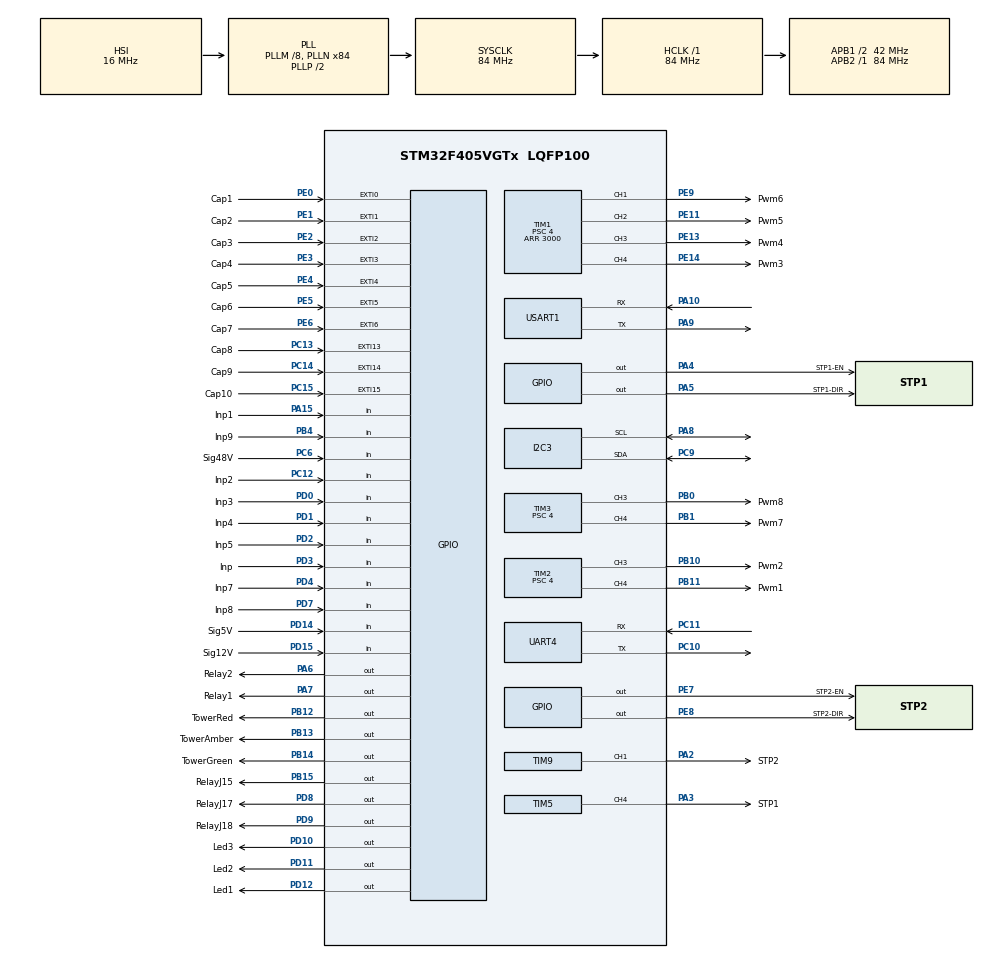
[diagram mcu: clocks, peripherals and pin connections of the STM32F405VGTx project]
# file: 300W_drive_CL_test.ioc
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Mcu.Family=STM32F4
Mcu.Name=STM32F405VGTx
Mcu.Package=LQFP100
NVIC.EXTI0_IRQn=true\:0\:0\:false\:false\:true\:true\:true\:true
NVIC.EXTI15_10_IRQn=true\:0\:0\:false\:false\:true\:true\:true\:true
NVIC.EXTI1_IRQn=true\:0\:0\:false\:false\:true\:true\:true\:true
NVIC.EXTI2_IRQn=true\:0\:0\:false\:false\:true\:true\:true\:true
NVIC.EXTI3_IRQn=true\:0\:0\:false\:false\:true\:true\:true\:true
NVIC.EXTI4_IRQn=true\:0\:0\:false\:false\:true\:true\:true\:true
NVIC.EXTI9_5_IRQn=true\:0\:0\:false\:false\:true\:true\:true\:true
NVIC.PriorityGroup=NVIC_PRIORITYGROUP_4
NVIC.TIM1_BRK_TIM9_IRQn=true\:0\:0\:false\:false\:true\:true\:true\:true
NVIC.TIM1_UP_TIM10_IRQn=true\:0\:0\:false\:false\:true\:true\:true\:true
NVIC.TIM5_IRQn=true\:0\:0\:false\:false\:true\:true\:true\:true
NVIC.TIM6_DAC_IRQn=true\:0\:0\:false\:false\:true\:true\:true\:true
NVIC.TIM7_IRQn=true\:0\:0\:false\:false\:true\:true\:true\:true
NVIC.UART4_IRQn=true\:0\:0\:false\:false\:true\:true\:true\:true
NVIC.USART1_IRQn=true\:0\:0\:false\:false\:true\:true\:true\:true
PA10.Mode=Asynchronous
PA10.Signal=USART1_RX
PA15.GPIO_Label=Inp1
PA15.Signal=GPIO_Input
PA2.GPIO_Label=STP2
PA2.Signal=S_TIM9_CH1
PA3.GPIO_Label=STP1
PA3.Signal=S_TIM5_CH4
PA4.GPIO_Label=STP1-EN
PA4.Signal=GPIO_Output
PA5.GPIO_Label=STP1-DIR
PA5.Signal=GPIO_Output
PA6.GPIO_Label=Relay2
PA6.Signal=GPIO_Output
PA7.GPIO_Label=Relay1
PA7.Signal=GPIO_Output
PA8.GPIO_Pu=GPIO_PULLUP
PA8.Mode=I2C
PA8.Signal=I2C3_SCL
PA9.Mode=Asynchronous
PA9.Signal=USART1_TX
PB0.GPIO_Label=Pwm8
PB0.Signal=S_TIM3_CH3
PB1.GPIO_Label=Pwm7
PB1.Signal=S_TIM3_CH4
PB10.GPIO_Label=Pwm2
PB10.Signal=S_TIM2_CH3
PB11.GPIO_Label=Pwm1
PB11.Signal=S_TIM2_CH4
PB12.GPIO_Label=TowerRed
PB12.Signal=GPIO_Output
PB13.GPIO_Label=TowerAmber
PB13.Signal=GPIO_Output
PB14.GPIO_Label=TowerGreen
PB14.Signal=GPIO_Output
PB15.GPIO_Label=RelayJ15
PB15.Signal=GPIO_Output
PB4.GPIO_Label=Inp9
PB4.Signal=GPIO_Input
PC10.Mode=Asynchronous
PC10.Signal=UART4_TX
PC11.Mode=Asynchronous
PC11.Signal=UART4_RX
PC12.GPIO_Label=Inp2
PC12.Signal=GPIO_Input
PC13-ANTI_TAMP.GPIO_Label=Cap8
PC13-ANTI_TAMP.GPIO_ModeDefaultEXTI=GPIO_MODE_IT_RISING_FALLING
PC13-ANTI_TAMP.GPIO_PuPd=GPIO_PULLUP
PC13-ANTI_TAMP.Signal=GPXTI13
PC14-OSC32_IN.GPIO_Label=Cap9
PC14-OSC32_IN.GPIO_ModeDefaultEXTI=GPIO_MODE_IT_RISING_FALLING
PC14-OSC32_IN.GPIO_PuPd=GPIO_PULLUP
PC14-OSC32_IN.Signal=GPXTI14
PC15-OSC32_OUT.GPIO_Label=Cap10
PC15-OSC32_OUT.GPIO_ModeDefaultEXTI=GPIO_MODE_IT_RISING_FALLING
PC15-OSC32_OUT.GPIO_PuPd=GPIO_PULLUP
PC15-OSC32_OUT.Signal=GPXTI15
PC6.GPIO_Label=Sig48V
PC6.Signal=GPIO_Input
PC9.GPIO_Pu=GPIO_PULLUP
PC9.Mode=I2C
PC9.Signal=I2C3_SDA
PD0.GPIO_Label=Inp3
PD0.Signal=GPIO_Input
PD1.GPIO_Label=Inp4
PD1.Signal=GPIO_Input
PD10.GPIO_Label=Led3
PD10.Signal=GPIO_Output
PD11.GPIO_Label=Led2
PD11.Signal=GPIO_Output
PD12.GPIO_Label=Led1
PD12.Signal=GPIO_Output
PD14.GPIO_Label=Sig5V
PD14.Signal=GPIO_Input
PD15.GPIO_Label=Sig12V
PD15.Signal=GPIO_Input
PD2.GPIO_Label=Inp5
PD2.Signal=GPIO_Input
PD3.GPIO_Label=Inp
PD3.Signal=GPIO_Input
PD4.GPIO_Label=Inp7
PD4.Signal=GPIO_Input
PD7.GPIO_Label=Inp8
PD7.Signal=GPIO_Input
PD8.GPIO_Label=RelayJ17
PD8.Signal=GPIO_Output
PD9.GPIO_Label=RelayJ18
PD9.Signal=GPIO_Output
PE0.GPIO_Label=Cap1
PE0.GPIO_ModeDefaultEXTI=GPIO_MODE_IT_RISING_FALLING
PE0.GPIO_PuPd=GPIO_PULLUP
PE0.Signal=GPXTI0
PE1.GPIO_Label=Cap2
PE1.GPIO_ModeDefaultEXTI=GPIO_MODE_IT_RISING_FALLING
PE1.GPIO_PuPd=GPIO_PULLUP
PE1.Signal=GPXTI1
PE11.GPIO_Label=Pwm5
PE11.Signal=S_TIM1_CH2
PE13.GPIO_Label=Pwm4
PE13.Signal=S_TIM1_CH3
PE14.GPIO_Label=Pwm3
PE14.Signal=S_TIM1_CH4
PE2.GPIO_Label=Cap3
PE2.GPIO_ModeDefaultEXTI=GPIO_MODE_IT_RISING_FALLING
PE2.GPIO_PuPd=GPIO_PULLUP
PE2.Signal=GPXTI2
PE3.GPIO_Label=Cap4
PE3.GPIO_ModeDefaultEXTI=GPIO_MODE_IT_RISING_FALLING
PE3.GPIO_PuPd=GPIO_PULLUP
PE3.Signal=GPXTI3
PE4.GPIO_Label=Cap5
PE4.GPIO_ModeDefaultEXTI=GPIO_MODE_IT_RISING_FALLING
PE4.GPIO_PuPd=GPIO_PULLUP
PE4.Signal=GPXTI4
PE5.GPIO_Label=Cap6
PE5.GPIO_ModeDefaultEXTI=GPIO_MODE_IT_RISING_FALLING
PE5.GPIO_PuPd=GPIO_PULLUP
PE5.Signal=GPXTI5
PE6.GPIO_Label=Cap7
PE6.GPIO_ModeDefaultEXTI=GPIO_MODE_IT_RISING_FALLING
PE6.GPIO_PuPd=GPIO_PULLUP
PE6.Signal=GPXTI6
PE7.GPIO_Label=STP2-EN
PE7.Signal=GPIO_Output
PE8.GPIO_Label=STP2-DIR
PE8.Signal=GPIO_Output
PE9.GPIO_Label=Pwm6
PE9.Signal=S_TIM1_CH1
ProjectManager.HeapSize=0x200
ProjectManager.StackSize=0x400
ProjectManager.TargetToolchain=STM32CubeIDE
RCC.48MHZClocksFreq_Value=42000000
RCC.AHBFreq_Value=84000000
RCC.APB1CLKDivider=RCC_HCLK_DIV2
RCC.APB1Freq_Value=42000000
RCC.APB1TimFreq_Value=84000000
RCC.APB2Freq_Value=84000000
RCC.APB2TimFreq_Value=84000000
RCC.CortexFreq_Value=84000000
RCC.HCLKFreq_Value=84000000
RCC.HSE_VALUE=25000000
RCC.HSI_VALUE=16000000
RCC.LSE_VALUE=32768
RCC.PLLM=8
RCC.PLLN=84
RCC.SYSCLKFreq_VALUE=84000000
RCC.SYSCLKSource=RCC_SYSCLKSOURCE_PLLCLK
RCC.VCOOutputFreq_Value=168000000
SH.S_TIM1_CH1.0=TIM1_CH1,PWM Generation1 CH1
SH.S_TIM1_CH2.0=TIM1_CH2,PWM Generation2 CH2
SH.S_TIM1_CH3.0=TIM1_CH3,PWM Generation3 CH3
SH.S_TIM1_CH4.0=TIM1_CH4,PWM Generation4 CH4
SH.S_TIM2_CH3.0=TIM2_CH3,PWM Generation3 CH3
SH.S_TIM2_CH4.0=TIM2_CH4,PWM Generation4 CH4
SH.S_TIM3_CH3.0=TIM3_CH3,PWM Generation3 CH3
SH.S_TIM3_CH4.0=TIM3_CH4,PWM Generation4 CH4
SH.S_TIM5_CH4.0=TIM5_CH4,PWM Generation4 CH4
SH.S_TIM9_CH1.0=TIM9_CH1,PWM Generation1 CH1
TIM1.Channel-PWM\ Generation1\ CH1=TIM_CHANNEL_1
TIM1.Channel-PWM\ Generation2\ CH2=TIM_CHANNEL_2
TIM1.Channel-PWM\ Generation3\ CH3=TIM_CHANNEL_3
TIM1.Channel-PWM\ Generation4\ CH4=TIM_CHANNEL_4
TIM1.OCPolarity_1=TIM_OCPOLARITY_HIGH
TIM1.OCPolarity_2=TIM_OCPOLARITY_HIGH
TIM1.OCPolarity_3=TIM_OCPOLARITY_HIGH
TIM1.OCPolarity_4=TIM_OCPOLARITY_HIGH
TIM1.Period=3000
TIM1.Prescaler=4
TIM10.Period=335
TIM10.Prescaler=499
TIM2.Channel-PWM\ Generation3\ CH3=TIM_CHANNEL_3
TIM2.Channel-PWM\ Generation4\ CH4=TIM_CHANNEL_4
TIM2.OCPolarity_3=TIM_OCPOLARITY_HIGH
TIM2.OCPolarity_4=TIM_OCPOLARITY_HIGH
TIM2.Period=3000
TIM2.Prescaler=4
TIM3.Channel-PWM\ Generation3\ CH3=TIM_CHANNEL_3
TIM3.Channel-PWM\ Generation4\ CH4=TIM_CHANNEL_4
TIM3.OCPolarity_3=TIM_OCPOLARITY_HIGH
TIM3.OCPolarity_4=TIM_OCPOLARITY_HIGH
TIM3.Period=3000
TIM3.Prescaler=4
TIM5.Channel-PWM\ Generation4\ CH4=TIM_CHANNEL_4
TIM5.Period=99
TIM5.Prescaler=839
TIM5.TIM_MasterSlaveMode=TIM_MASTERSLAVEMODE_ENABLE
TIM6.Period=839
TIM6.Prescaler=9999
TIM7.Period=8399
TIM7.Prescaler=9999
TIM9.Channel-PWM\ Generation1\ CH1=TIM_CHANNEL_1
TIM9.Period=249
TIM9.Prescaler=8399
UART4.VirtualMode=Asynchronous
USART1.VirtualMode=VM_ASYNC
VP_TIM10_VS_ClockSourceINT.Mode=Enable_Timer
VP_TIM6_VS_ClockSourceINT.Mode=Enable_Timer
VP_TIM7_VS_ClockSourceINT.Mode=Enable_Timer
board=FLYERFRAME

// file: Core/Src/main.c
/* USER CODE BEGIN Header */
/**
  ******************************************************************************
  * @file           : main.c
  * @brief          : Main program body
  ******************************************************************************
  * @attention
  *
  * Copyright (c) 2022 STMicroelectronics.
  * All rights reserved.
  *
  * This software is licensed under terms that can be found in the LICENSE file
  * in the root directory of this software component.
  * If no LICENSE file comes with this software, it is provided AS-IS.
  *
  ******************************************************************************
  */
/* USER CODE END Header */
#include "main.h"

/* USER CODE BEGIN Includes */
#include "stm32f4xx_hal.h"
#include "utilFns.h"
/* USER CODE END Includes */

I2C_HandleTypeDef hi2c3;

TIM_HandleTypeDef htim1;
TIM_HandleTypeDef htim2;
TIM_HandleTypeDef htim3;
TIM_HandleTypeDef htim5;
TIM_HandleTypeDef htim6;
TIM_HandleTypeDef htim7;
TIM_HandleTypeDef htim9;
TIM_HandleTypeDef htim10;

UART_HandleTypeDef huart4;
UART_HandleTypeDef huart1;

void SystemClock_Config(void);
static void MX_GPIO_Init(void);
static void MX_TIM1_Init(void);
static void MX_TIM2_Init(void);
static void MX_TIM3_Init(void);
static void MX_TIM6_Init(void);
static void MX_TIM7_Init(void);
static void MX_USART1_UART_Init(void);
static void MX_I2C3_Init(void);
static void MX_UART4_Init(void);
static void MX_TIM5_Init(void);
static void MX_TIM10_Init(void);
static void MX_TIM9_Init(void);

/* USER CODE BEGIN 0 */
uint8_t count25 = 0;
uint8_t mode1 = 0;

uint8_t runTime = 0;
uint8_t section = 0;
uint8_t blinkTime = 0;

int16_t target = 0;
extern uint16_t tacCnt;
uint16_t rpm=0;
uint16_t lpf_rpm = 0;
uint8_t runMotor = 0;

uint8_t antiWindup = 0;
uint16_t pwmVal = 0;
uint16_t feedforward = 0;
uint16_t outPWM = 0;

int16_t error = 0;
int32_t intError = 0;

uint8_t apply = 0;

uint16_t targetCounter = 0;
uint16_t controlCounter = 0;

uint8_t averagingStarted = 0;
uint32_t sumRPM = 0;
uint16_t AvgRPM = 0;
uint8_t Avgidx = 0;
uint16_t avgTac=0;
uint32_t sumTacCnt=0;

float Kp = 3;
float Ki = 0.1;

void HAL_TIM_PeriodElapsedCallback(TIM_HandleTypeDef *htim)
{
	if (htim->Instance==TIM7) // TIM7 is a 1 sec timer
	{
		if (mode1 == STATE_RUN){

			if (section == STOP){
				if (runTime == STOP_DELAY_TIME){
					section = OFF;
					mode1 = STATE_IDLE;
					runTime = 0;
					intError =0;
					HAL_GPIO_WritePin(GPIOD,Led1_Pin,GPIO_PIN_RESET);
				}
			}

			if (section == PK_RPM_WAIT){
				// only mode1 goes to decrease PWM. mode remains at this PWM for fault tests.
				if (runTime == PK_PWM_WAIT_TIME){
					section = RAMP_DOWN;
					runTime = 0;
				}
			}

			if (section == START){
				if (runTime == START_DELAY_TIME){
					//Enable PWM
					section = RAMP_UP;
					blinkTime = 0;
					runTime = 0;
					runMotor = 1;
				}
			}

			runTime ++;
		} //closes MODE1

	}

	if (htim->Instance==TIM6) // TIM6 is a 0.1 sec timer
		{
			// Blink Code
			if (mode1 == STATE_RUN){
				if ((section == START)||(section==STOP)){
					if (blinkTime%10 == 0){ // led blink at 0.5Hz
						HAL_GPIO_TogglePin(GPIOD,Led3_Pin);
					}
				}
				else{
					if (blinkTime%5 == 0){ // led blink at 1Hz
						HAL_GPIO_TogglePin(GPIOD,Led3_Pin);
					}
				}
			blinkTime++;
			}
		}

	if (htim->Instance==TIM5) // TIM6 is a 250 msec timer
	{
		targetCounter ++;
		if (section == RAMP_UP){
			if (target < MAX_RPM){
				target = target + RAMP_UP_RATE;
				if (target >= MAX_RPM){
					section = PK_RPM_WAIT;
					runTime = 0;
				}
			}
		}

		if (section == RAMP_DOWN){
			if (target > MIN_RPM){
				target = target - RAMP_DOWN_RATE;
				if (target <= 0){
					target = 0;
					section = STOP;
					runTime = 0;
					runMotor = 0;
				}
			}
		}
	}

	if (htim->Instance==TIM9) // TIM9 is a 50 msec timer
	{
		controlCounter ++;

		if ((Avgidx < 12) && (averagingStarted == 0)){
			avgTac = tacCnt;
			sumTacCnt += tacCnt;
			averagingStarted = 1;
		}else{
			sumTacCnt = sumTacCnt - avgTac + tacCnt;
			avgTac = sumTacCnt/12;
		}
		Avgidx ++;

		rpm = (uint16_t)(avgTac*62.5); // ((tacCnt * 20)/768) * 60 = taccnt * 1.5625

		/*if ((Avgidx < 10) && (averagingStarted == 0)){
			AvgRPM = rpm;
			sumRPM += rpm;
			averagingStarted = 1;
		}else{
			sumRPM = sumRPM - AvgRPM + rpm;
			AvgRPM = sumRPM/10;
		}
		Avgidx ++;
		*/
		//lpf_rpm = (uint16_t)(rpm * 0.05f + AvgRPM * 0.95f);
		tacCnt = 0;

		if (runMotor){
			error = target - rpm;

			if (antiWindup == 0){
				intError = intError +error;
			}
			pwmVal = (uint16_t)(error * Kp + intError * Ki);

			if (pwmVal > 2800){
				antiWindup = 1;
				pwmVal = 2800;
			}

			feedforward = (uint16_t)(target*0.2f) ;
			outPWM = pwmVal + feedforward;
			__HAL_TIM_SetCompare(&htim2, TIM_CHANNEL_4,outPWM);
		}
	}

}
/* USER CODE END 0 */

int main(void)
{

  /* MCU Configuration--------------------------------------------------------*/

  /* Reset of all peripherals, Initializes the Flash interface and the Systick. */
  HAL_Init();

  /* Configure the system clock */
  SystemClock_Config();

  /* Initialize all configured peripherals */
  MX_GPIO_Init();
  MX_TIM1_Init();
  MX_TIM2_Init();
  MX_TIM3_Init();
  MX_TIM6_Init();
  MX_TIM7_Init();
  MX_USART1_UART_Init();
  MX_I2C3_Init();
  MX_UART4_Init();
  MX_TIM5_Init();
  MX_TIM10_Init();
  MX_TIM9_Init();
  /* USER CODE BEGIN 2 */
  //CK SPEED - 84Mhz
  //Timer1,2,3 -> for PWM -> 5600Hz , PSC 4 ,ARR 3000
  //Timer 5 -> PSC 8399, ARR 2499 -> 4Hz , 250 msec Interrupt
  //Timer 6 -> PSC 9999, ARR 839 -> 10Hz , 0.1 sec Interrupt
  //Timer 7 -> PSC 9999, ARR 8399 -> 1Hz ,1 sec interrupt
  //Timer 9 -> PSC 8399, ARR 249 -> 8Hz, 125ms interrupt
  //Timer 10-> PSC 499, ARR 335 -> 500Hz  , 20mS Interrupt

  HAL_TIM_Base_Start_IT(&htim7); // start the 1 sec timer
  HAL_TIM_Base_Start_IT(&htim6); // start the 0.1 sec timer, used for pwm increment
  HAL_TIM_Base_Start_IT(&htim5); // start the 250 ms timer for setting the target
  HAL_TIM_Base_Start_IT(&htim9); // start the 50 msec timer, used for PID control

  HAL_TIM_Base_Start_IT(&htim2); // start the PWM timer, but not PWM
  HAL_TIM_PWM_Start(&htim2,TIM_CHANNEL_4);
  __HAL_TIM_SetCompare(&htim2, TIM_CHANNEL_4,0);

  /* USER CODE END 2 */

  /* Infinite loop */
  while (1)
  {
	  char key1 = Read_inp1Pin();
	  char key2 = Read_inp2Pin();

	  if (key1){
		//start PWM1 and increment to 100%, wait, bring PWM down to 0
		if ((mode1 == STATE_IDLE)){
			mode1 = STATE_RUN;
			section = START;
			target = 0;
			lpf_rpm = 0;
			runTime = 0;
			blinkTime = 0;

			averagingStarted = 0;
			sumRPM = 0;
			AvgRPM = 0;
			intError = 0;
			antiWindup = 0;
		    avgTac=0;
			sumTacCnt=0;
			MotorDrive(ENABLE_D);
			HAL_GPIO_WritePin(GPIOD,Led1_Pin,GPIO_PIN_SET);
		}else{
			if ((mode1 == STATE_RUN ) && (section != START)){
				mode1 = STATE_IDLE;
				section = OFF;
				target = 0;
				lpf_rpm = 0;

				averagingStarted = 0;
				sumRPM = 0;
				AvgRPM = 0;
			    avgTac=0;
				sumTacCnt=0;

				pwmVal = 0;
				MotorDrive(DISABLE_D);
				__HAL_TIM_SetCompare(&htim2, TIM_CHANNEL_4,0);
				HAL_TIM_PWM_Stop(&htim2,TIM_CHANNEL_4);
				HAL_GPIO_WritePin(GPIOD,Led1_Pin,GPIO_PIN_RESET);
				HAL_GPIO_WritePin(GPIOD,Led3_Pin,GPIO_PIN_RESET);
				HAL_Delay(3000);
			}
		}
	}

	 /*
	if (apply){
		  __HAL_TIM_SetCompare(&htim2, TIM_CHANNEL_4,pwmVal);
	}*/

  }
}

void SystemClock_Config(void)
{
  RCC_OscInitTypeDef RCC_OscInitStruct = {0};
  RCC_ClkInitTypeDef RCC_ClkInitStruct = {0};

  /** Configure the main internal regulator output voltage
  */
  __HAL_RCC_PWR_CLK_ENABLE();
  __HAL_PWR_VOLTAGESCALING_CONFIG(PWR_REGULATOR_VOLTAGE_SCALE1);

  /** Initializes the RCC Oscillators according to the specified parameters
  * in the RCC_OscInitTypeDef structure.
  */
  RCC_OscInitStruct.OscillatorType = RCC_OSCILLATORTYPE_HSI;
  RCC_OscInitStruct.HSIState = RCC_HSI_ON;
  RCC_OscInitStruct.HSICalibrationValue = RCC_HSICALIBRATION_DEFAULT;
  RCC_OscInitStruct.PLL.PLLState = RCC_PLL_ON;
  RCC_OscInitStruct.PLL.PLLSource = RCC_PLLSOURCE_HSI;
  RCC_OscInitStruct.PLL.PLLM = 8;
  RCC_OscInitStruct.PLL.PLLN = 84;
  RCC_OscInitStruct.PLL.PLLP = RCC_PLLP_DIV2;
  RCC_OscInitStruct.PLL.PLLQ = 4;
  if (HAL_RCC_OscConfig(&RCC_OscInitStruct) != HAL_OK)
  {
    Error_Handler();
  }

  /** Initializes the CPU, AHB and APB buses clocks
  */
  RCC_ClkInitStruct.ClockType = RCC_CLOCKTYPE_HCLK|RCC_CLOCKTYPE_SYSCLK
                              |RCC_CLOCKTYPE_PCLK1|RCC_CLOCKTYPE_PCLK2;
  RCC_ClkInitStruct.SYSCLKSource = RCC_SYSCLKSOURCE_PLLCLK;
  RCC_ClkInitStruct.AHBCLKDivider = RCC_SYSCLK_DIV1;
  RCC_ClkInitStruct.APB1CLKDivider = RCC_HCLK_DIV2;
  RCC_ClkInitStruct.APB2CLKDivider = RCC_HCLK_DIV1;

  if (HAL_RCC_ClockConfig(&RCC_ClkInitStruct, FLASH_LATENCY_2) != HAL_OK)
  {
    Error_Handler();
  }
}

static void MX_I2C3_Init(void)
{

  hi2c3.Instance = I2C3;
  hi2c3.Init.ClockSpeed = 100000;
  hi2c3.Init.DutyCycle = I2C_DUTYCYCLE_2;
  hi2c3.Init.OwnAddress1 = 0;
  hi2c3.Init.AddressingMode = I2C_ADDRESSINGMODE_7BIT;
  hi2c3.Init.DualAddressMode = I2C_DUALADDRESS_DISABLE;
  hi2c3.Init.OwnAddress2 = 0;
  hi2c3.Init.GeneralCallMode = I2C_GENERALCALL_DISABLE;
  hi2c3.Init.NoStretchMode = I2C_NOSTRETCH_DISABLE;
  if (HAL_I2C_Init(&hi2c3) != HAL_OK)
  {
    Error_Handler();
  }

}

static void MX_TIM1_Init(void)
{

  TIM_MasterConfigTypeDef sMasterConfig = {0};
  TIM_OC_InitTypeDef sConfigOC = {0};
  TIM_BreakDeadTimeConfigTypeDef sBreakDeadTimeConfig = {0};

  htim1.Instance = TIM1;
  htim1.Init.Prescaler = 4;
  htim1.Init.CounterMode = TIM_COUNTERMODE_UP;
  htim1.Init.Period = 3000;
  htim1.Init.ClockDivision = TIM_CLOCKDIVISION_DIV1;
  htim1.Init.RepetitionCounter = 0;
  htim1.Init.AutoReloadPreload = TIM_AUTORELOAD_PRELOAD_DISABLE;
  if (HAL_TIM_PWM_Init(&htim1) != HAL_OK)
  {
    Error_Handler();
  }
  sMasterConfig.MasterOutputTrigger = TIM_TRGO_RESET;
  sMasterConfig.MasterSlaveMode = TIM_MASTERSLAVEMODE_DISABLE;
  if (HAL_TIMEx_MasterConfigSynchronization(&htim1, &sMasterConfig) != HAL_OK)
  {
    Error_Handler();
  }
  sConfigOC.OCMode = TIM_OCMODE_PWM1;
  sConfigOC.Pulse = 0;
  sConfigOC.OCPolarity = TIM_OCPOLARITY_HIGH;
  sConfigOC.OCNPolarity = TIM_OCNPOLARITY_HIGH;
  sConfigOC.OCFastMode = TIM_OCFAST_DISABLE;
  sConfigOC.OCIdleState = TIM_OCIDLESTATE_RESET;
  sConfigOC.OCNIdleState = TIM_OCNIDLESTATE_RESET;
  if (HAL_TIM_PWM_ConfigChannel(&htim1, &sConfigOC, TIM_CHANNEL_1) != HAL_OK)
  {
    Error_Handler();
  }
  if (HAL_TIM_PWM_ConfigChannel(&htim1, &sConfigOC, TIM_CHANNEL_2) != HAL_OK)
  {
    Error_Handler();
  }
  if (HAL_TIM_PWM_ConfigChannel(&htim1, &sConfigOC, TIM_CHANNEL_3) != HAL_OK)
  {
    Error_Handler();
  }
  if (HAL_TIM_PWM_ConfigChannel(&htim1, &sConfigOC, TIM_CHANNEL_4) != HAL_OK)
  {
    Error_Handler();
  }
  sBreakDeadTimeConfig.OffStateRunMode = TIM_OSSR_DISABLE;
  sBreakDeadTimeConfig.OffStateIDLEMode = TIM_OSSI_DISABLE;
  sBreakDeadTimeConfig.LockLevel = TIM_LOCKLEVEL_OFF;
  sBreakDeadTimeConfig.DeadTime = 0;
  sBreakDeadTimeConfig.BreakState = TIM_BREAK_DISABLE;
  sBreakDeadTimeConfig.BreakPolarity = TIM_BREAKPOLARITY_HIGH;
  sBreakDeadTimeConfig.AutomaticOutput = TIM_AUTOMATICOUTPUT_DISABLE;
  if (HAL_TIMEx_ConfigBreakDeadTime(&htim1, &sBreakDeadTimeConfig) != HAL_OK)
  {
    Error_Handler();
  }
  HAL_TIM_MspPostInit(&htim1);

}

static void MX_TIM2_Init(void)
{

  TIM_MasterConfigTypeDef sMasterConfig = {0};
  TIM_OC_InitTypeDef sConfigOC = {0};

  htim2.Instance = TIM2;
  htim2.Init.Prescaler = 4;
  htim2.Init.CounterMode = TIM_COUNTERMODE_UP;
  htim2.Init.Period = 3000;
  htim2.Init.ClockDivision = TIM_CLOCKDIVISION_DIV1;
  htim2.Init.AutoReloadPreload = TIM_AUTORELOAD_PRELOAD_DISABLE;
  if (HAL_TIM_PWM_Init(&htim2) != HAL_OK)
  {
    Error_Handler();
  }
  sMasterConfig.MasterOutputTrigger = TIM_TRGO_RESET;
  sMasterConfig.MasterSlaveMode = TIM_MASTERSLAVEMODE_DISABLE;
  if (HAL_TIMEx_MasterConfigSynchronization(&htim2, &sMasterConfig) != HAL_OK)
  {
    Error_Handler();
  }
  sConfigOC.OCMode = TIM_OCMODE_PWM1;
  sConfigOC.Pulse = 0;
  sConfigOC.OCPolarity = TIM_OCPOLARITY_HIGH;
  sConfigOC.OCFastMode = TIM_OCFAST_DISABLE;
  if (HAL_TIM_PWM_ConfigChannel(&htim2, &sConfigOC, TIM_CHANNEL_3) != HAL_OK)
  {
    Error_Handler();
  }
  if (HAL_TIM_PWM_ConfigChannel(&htim2, &sConfigOC, TIM_CHANNEL_4) != HAL_OK)
  {
    Error_Handler();
  }
  HAL_TIM_MspPostInit(&htim2);

}

static void MX_TIM3_Init(void)
{

  TIM_MasterConfigTypeDef sMasterConfig = {0};
  TIM_OC_InitTypeDef sConfigOC = {0};

  htim3.Instance = TIM3;
  htim3.Init.Prescaler = 4;
  htim3.Init.CounterMode = TIM_COUNTERMODE_UP;
  htim3.Init.Period = 3000;
  htim3.Init.ClockDivision = TIM_CLOCKDIVISION_DIV1;
  htim3.Init.AutoReloadPreload = TIM_AUTORELOAD_PRELOAD_DISABLE;
  if (HAL_TIM_PWM_Init(&htim3) != HAL_OK)
  {
    Error_Handler();
  }
  sMasterConfig.MasterOutputTrigger = TIM_TRGO_RESET;
  sMasterConfig.MasterSlaveMode = TIM_MASTERSLAVEMODE_DISABLE;
  if (HAL_TIMEx_MasterConfigSynchronization(&htim3, &sMasterConfig) != HAL_OK)
  {
    Error_Handler();
  }
  sConfigOC.OCMode = TIM_OCMODE_PWM1;
  sConfigOC.Pulse = 0;
  sConfigOC.OCPolarity = TIM_OCPOLARITY_HIGH;
  sConfigOC.OCFastMode = TIM_OCFAST_DISABLE;
  if (HAL_TIM_PWM_ConfigChannel(&htim3, &sConfigOC, TIM_CHANNEL_3) != HAL_OK)
  {
    Error_Handler();
  }
  if (HAL_TIM_PWM_ConfigChannel(&htim3, &sConfigOC, TIM_CHANNEL_4) != HAL_OK)
  {
    Error_Handler();
  }
  HAL_TIM_MspPostInit(&htim3);

}

static void MX_TIM5_Init(void)
{

  TIM_MasterConfigTypeDef sMasterConfig = {0};
  TIM_OC_InitTypeDef sConfigOC = {0};

  htim5.Instance = TIM5;
  htim5.Init.Prescaler = 8399;
  htim5.Init.CounterMode = TIM_COUNTERMODE_UP;
  htim5.Init.Period = 2499;
  htim5.Init.ClockDivision = TIM_CLOCKDIVISION_DIV1;
  htim5.Init.AutoReloadPreload = TIM_AUTORELOAD_PRELOAD_DISABLE;
  if (HAL_TIM_PWM_Init(&htim5) != HAL_OK)
  {
    Error_Handler();
  }
  sMasterConfig.MasterOutputTrigger = TIM_TRGO_RESET;
  sMasterConfig.MasterSlaveMode = TIM_MASTERSLAVEMODE_ENABLE;
  if (HAL_TIMEx_MasterConfigSynchronization(&htim5, &sMasterConfig) != HAL_OK)
  {
    Error_Handler();
  }
  sConfigOC.OCMode = TIM_OCMODE_PWM1;
  sConfigOC.Pulse = 0;
  sConfigOC.OCPolarity = TIM_OCPOLARITY_HIGH;
  sConfigOC.OCFastMode = TIM_OCFAST_DISABLE;
  if (HAL_TIM_PWM_ConfigChannel(&htim5, &sConfigOC, TIM_CHANNEL_4) != HAL_OK)
  {
    Error_Handler();
  }
  HAL_TIM_MspPostInit(&htim5);

}

static void MX_TIM6_Init(void)
{

  TIM_MasterConfigTypeDef sMasterConfig = {0};

  htim6.Instance = TIM6;
  htim6.Init.Prescaler = 9999;
  htim6.Init.CounterMode = TIM_COUNTERMODE_UP;
  htim6.Init.Period = 839;
  htim6.Init.AutoReloadPreload = TIM_AUTORELOAD_PRELOAD_DISABLE;
  if (HAL_TIM_Base_Init(&htim6) != HAL_OK)
  {
    Error_Handler();
  }
  sMasterConfig.MasterOutputTrigger = TIM_TRGO_RESET;
  sMasterConfig.MasterSlaveMode = TIM_MASTERSLAVEMODE_DISABLE;
  if (HAL_TIMEx_MasterConfigSynchronization(&htim6, &sMasterConfig) != HAL_OK)
  {
    Error_Handler();
  }

}

static void MX_TIM7_Init(void)
{

  TIM_MasterConfigTypeDef sMasterConfig = {0};

  htim7.Instance = TIM7;
  htim7.Init.Prescaler = 9999;
  htim7.Init.CounterMode = TIM_COUNTERMODE_UP;
  htim7.Init.Period = 8399;
  htim7.Init.AutoReloadPreload = TIM_AUTORELOAD_PRELOAD_DISABLE;
  if (HAL_TIM_Base_Init(&htim7) != HAL_OK)
  {
    Error_Handler();
  }
  sMasterConfig.MasterOutputTrigger = TIM_TRGO_RESET;
  sMasterConfig.MasterSlaveMode = TIM_MASTERSLAVEMODE_DISABLE;
  if (HAL_TIMEx_MasterConfigSynchronization(&htim7, &sMasterConfig) != HAL_OK)
  {
    Error_Handler();
  }

}

static void MX_TIM9_Init(void)
{

  TIM_OC_InitTypeDef sConfigOC = {0};

  htim9.Instance = TIM9;
  htim9.Init.Prescaler = 8399;
  htim9.Init.CounterMode = TIM_COUNTERMODE_UP;
  htim9.Init.Period = 499;
  htim9.Init.ClockDivision = TIM_CLOCKDIVISION_DIV1;
  htim9.Init.AutoReloadPreload = TIM_AUTORELOAD_PRELOAD_DISABLE;
  if (HAL_TIM_PWM_Init(&htim9) != HAL_OK)
  {
    Error_Handler();
  }
  sConfigOC.OCMode = TIM_OCMODE_PWM1;
  sConfigOC.Pulse = 0;
  sConfigOC.OCPolarity = TIM_OCPOLARITY_HIGH;
  sConfigOC.OCFastMode = TIM_OCFAST_DISABLE;
  if (HAL_TIM_PWM_ConfigChannel(&htim9, &sConfigOC, TIM_CHANNEL_1) != HAL_OK)
  {
    Error_Handler();
  }
  HAL_TIM_MspPostInit(&htim9);

}

static void MX_TIM10_Init(void)
{

  htim10.Instance = TIM10;
  htim10.Init.Prescaler = 499;
  htim10.Init.CounterMode = TIM_COUNTERMODE_UP;
  htim10.Init.Period = 335;
  htim10.Init.ClockDivision = TIM_CLOCKDIVISION_DIV1;
  htim10.Init.AutoReloadPreload = TIM_AUTORELOAD_PRELOAD_DISABLE;
  if (HAL_TIM_Base_Init(&htim10) != HAL_OK)
  {
    Error_Handler();
  }

}

static void MX_UART4_Init(void)
{

  huart4.Instance = UART4;
  huart4.Init.BaudRate = 115200;
  huart4.Init.WordLength = UART_WORDLENGTH_8B;
  huart4.Init.StopBits = UART_STOPBITS_1;
  huart4.Init.Parity = UART_PARITY_NONE;
  huart4.Init.Mode = UART_MODE_TX_RX;
  huart4.Init.HwFlowCtl = UART_HWCONTROL_NONE;
  huart4.Init.OverSampling = UART_OVERSAMPLING_16;
  if (HAL_UART_Init(&huart4) != HAL_OK)
  {
    Error_Handler();
  }

}

static void MX_USART1_UART_Init(void)
{

  huart1.Instance = USART1;
  huart1.Init.BaudRate = 115200;
  huart1.Init.WordLength = UART_WORDLENGTH_8B;
  huart1.Init.StopBits = UART_STOPBITS_1;
  huart1.Init.Parity = UART_PARITY_NONE;
  huart1.Init.Mode = UART_MODE_TX_RX;
  huart1.Init.HwFlowCtl = UART_HWCONTROL_NONE;
  huart1.Init.OverSampling = UART_OVERSAMPLING_16;
  if (HAL_UART_Init(&huart1) != HAL_OK)
  {
    Error_Handler();
  }

}

static void MX_GPIO_Init(void)
{
  GPIO_InitTypeDef GPIO_InitStruct = {0};

  /* GPIO Ports Clock Enable */
  __HAL_RCC_GPIOE_CLK_ENABLE();
  __HAL_RCC_GPIOC_CLK_ENABLE();
  __HAL_RCC_GPIOA_CLK_ENABLE();
  __HAL_RCC_GPIOB_CLK_ENABLE();
  __HAL_RCC_GPIOD_CLK_ENABLE();

  /*Configure GPIO pin Output Level */
  HAL_GPIO_WritePin(GPIOA, STP1_EN_Pin|STP1_DIR_Pin|Relay2_Pin|Relay1_Pin, GPIO_PIN_RESET);

  /*Configure GPIO pin Output Level */
  HAL_GPIO_WritePin(GPIOE, STP2_EN_Pin|STP2_DIR_Pin, GPIO_PIN_RESET);

  /*Configure GPIO pin Output Level */
  HAL_GPIO_WritePin(GPIOB, TowerRed_Pin|TowerAmber_Pin|TowerGreen_Pin|RelayJ15_Pin, GPIO_PIN_RESET);

  /*Configure GPIO pin Output Level */
  HAL_GPIO_WritePin(GPIOD, RelayJ17_Pin|RelayJ18_Pin|Led3_Pin|Led2_Pin
                          |Led1_Pin, GPIO_PIN_RESET);

  /*Configure GPIO pins : Cap3_Pin Cap4_Pin Cap5_Pin Cap6_Pin
                           Cap7_Pin Cap1_Pin Cap2_Pin */
  GPIO_InitStruct.Pin = Cap3_Pin|Cap4_Pin|Cap5_Pin|Cap6_Pin
                          |Cap7_Pin|Cap1_Pin|Cap2_Pin;
  GPIO_InitStruct.Mode = GPIO_MODE_IT_RISING_FALLING;
  GPIO_InitStruct.Pull = GPIO_PULLUP;
  HAL_GPIO_Init(GPIOE, &GPIO_InitStruct);

  /*Configure GPIO pins : Cap8_Pin Cap9_Pin Cap10_Pin */
  GPIO_InitStruct.Pin = Cap8_Pin|Cap9_Pin|Cap10_Pin;
  GPIO_InitStruct.Mode = GPIO_MODE_IT_RISING_FALLING;
  GPIO_InitStruct.Pull = GPIO_PULLUP;
  HAL_GPIO_Init(GPIOC, &GPIO_InitStruct);

  /*Configure GPIO pins : STP1_EN_Pin STP1_DIR_Pin Relay2_Pin Relay1_Pin */
  GPIO_InitStruct.Pin = STP1_EN_Pin|STP1_DIR_Pin|Relay2_Pin|Relay1_Pin;
  GPIO_InitStruct.Mode = GPIO_MODE_OUTPUT_PP;
  GPIO_InitStruct.Pull = GPIO_NOPULL;
  GPIO_InitStruct.Speed = GPIO_SPEED_FREQ_LOW;
  HAL_GPIO_Init(GPIOA, &GPIO_InitStruct);

  /*Configure GPIO pins : STP2_EN_Pin STP2_DIR_Pin */
  GPIO_InitStruct.Pin = STP2_EN_Pin|STP2_DIR_Pin;
  GPIO_InitStruct.Mode = GPIO_MODE_OUTPUT_PP;
  GPIO_InitStruct.Pull = GPIO_NOPULL;
  GPIO_InitStruct.Speed = GPIO_SPEED_FREQ_LOW;
  HAL_GPIO_Init(GPIOE, &GPIO_InitStruct);

  /*Configure GPIO pins : TowerRed_Pin TowerAmber_Pin TowerGreen_Pin RelayJ15_Pin */
  GPIO_InitStruct.Pin = TowerRed_Pin|TowerAmber_Pin|TowerGreen_Pin|RelayJ15_Pin;
  GPIO_InitStruct.Mode = GPIO_MODE_OUTPUT_PP;
  GPIO_InitStruct.Pull = GPIO_NOPULL;
  GPIO_InitStruct.Speed = GPIO_SPEED_FREQ_LOW;
  HAL_GPIO_Init(GPIOB, &GPIO_InitStruct);

  /*Configure GPIO pins : RelayJ17_Pin RelayJ18_Pin Led3_Pin Led2_Pin
                           Led1_Pin */
  GPIO_InitStruct.Pin = RelayJ17_Pin|RelayJ18_Pin|Led3_Pin|Led2_Pin
                          |Led1_Pin;
  GPIO_InitStruct.Mode = GPIO_MODE_OUTPUT_PP;
  GPIO_InitStruct.Pull = GPIO_NOPULL;
  GPIO_InitStruct.Speed = GPIO_SPEED_FREQ_LOW;
  HAL_GPIO_Init(GPIOD, &GPIO_InitStruct);

  /*Configure GPIO pins : Sig5V_Pin Sig12V_Pin Inp3_Pin Inp4_Pin
                           Inp5_Pin Inp_Pin Inp7_Pin Inp8_Pin */
  GPIO_InitStruct.Pin = Sig5V_Pin|Sig12V_Pin|Inp3_Pin|Inp4_Pin
                          |Inp5_Pin|Inp_Pin|Inp7_Pin|Inp8_Pin;
  GPIO_InitStruct.Mode = GPIO_MODE_INPUT;
  GPIO_InitStruct.Pull = GPIO_NOPULL;
  HAL_GPIO_Init(GPIOD, &GPIO_InitStruct);

  /*Configure GPIO pins : Sig48V_Pin Inp2_Pin */
  GPIO_InitStruct.Pin = Sig48V_Pin|Inp2_Pin;
  GPIO_InitStruct.Mode = GPIO_MODE_INPUT;
  GPIO_InitStruct.Pull = GPIO_NOPULL;
  HAL_GPIO_Init(GPIOC, &GPIO_InitStruct);

  /*Configure GPIO pin : Inp1_Pin */
  GPIO_InitStruct.Pin = Inp1_Pin;
  GPIO_InitStruct.Mode = GPIO_MODE_INPUT;
  GPIO_InitStruct.Pull = GPIO_NOPULL;
  HAL_GPIO_Init(Inp1_GPIO_Port, &GPIO_InitStruct);

  /*Configure GPIO pin : Inp9_Pin */
  GPIO_InitStruct.Pin = Inp9_Pin;
  GPIO_InitStruct.Mode = GPIO_MODE_INPUT;
  GPIO_InitStruct.Pull = GPIO_NOPULL;
  HAL_GPIO_Init(Inp9_GPIO_Port, &GPIO_InitStruct);

  /* EXTI interrupt init*/
  HAL_NVIC_SetPriority(EXTI0_IRQn, 0, 0);
  HAL_NVIC_EnableIRQ(EXTI0_IRQn);

  HAL_NVIC_SetPriority(EXTI1_IRQn, 0, 0);
  HAL_NVIC_EnableIRQ(EXTI1_IRQn);

  HAL_NVIC_SetPriority(EXTI2_IRQn, 0, 0);
  HAL_NVIC_EnableIRQ(EXTI2_IRQn);

  HAL_NVIC_SetPriority(EXTI3_IRQn, 0, 0);
  HAL_NVIC_EnableIRQ(EXTI3_IRQn);

  HAL_NVIC_SetPriority(EXTI4_IRQn, 0, 0);
  HAL_NVIC_EnableIRQ(EXTI4_IRQn);

  HAL_NVIC_SetPriority(EXTI9_5_IRQn, 0, 0);
  HAL_NVIC_EnableIRQ(EXTI9_5_IRQn);

  HAL_NVIC_SetPriority(EXTI15_10_IRQn, 0, 0);
  HAL_NVIC_EnableIRQ(EXTI15_10_IRQn);

}

void Error_Handler(void)
{
  __disable_irq();
  while (1)
  {
  }
}
